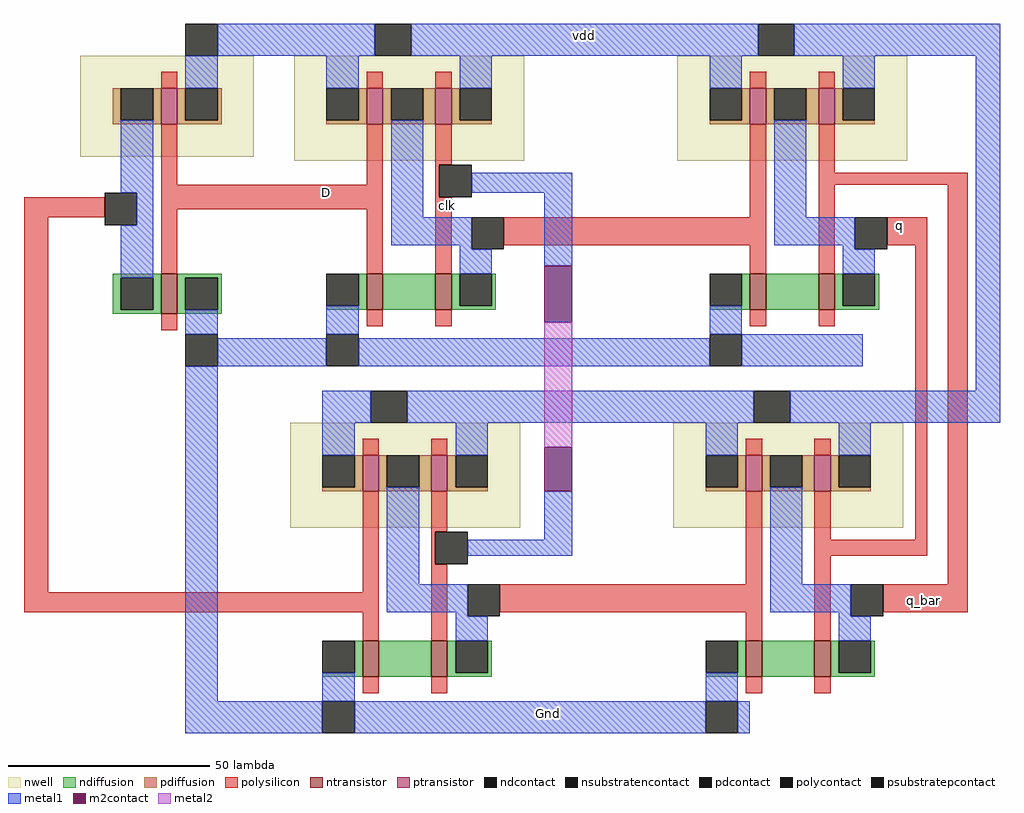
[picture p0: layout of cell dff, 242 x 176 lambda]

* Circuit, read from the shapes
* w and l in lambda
.subckt dff D Gnd clk q q_bar vdd
M1 Gnd D n1 Gnd nfet w=10 l=4
M2 n2 n1 Gnd Gnd nfet w=9 l=4
M3 n3 D Gnd Gnd nfet w=9 l=4
M4 n4 clk n2 Gnd nfet w=9 l=4
M5 n5 clk n3 Gnd nfet w=9 l=4
M6 n6 n4 Gnd Gnd nfet w=9 l=4
M7 n7 n5 Gnd Gnd nfet w=9 l=4
M8 q_bar q n6 Gnd nfet w=9 l=4
M9 q q_bar n7 Gnd nfet w=9 l=4
M10 vdd D n1 n8 pfet w=9 l=4
M11 n4 n1 vdd n9 pfet w=9 l=4
M12 n5 D vdd n10 pfet w=9 l=4
M13 vdd clk n4 n9 pfet w=9 l=4
M14 vdd clk n5 n10 pfet w=9 l=4
M15 q_bar n4 vdd n11 pfet w=9 l=4
M16 q n5 vdd n12 pfet w=9 l=4
M17 vdd q q_bar n11 pfet w=9 l=4
M18 vdd q_bar q n12 pfet w=9 l=4
.ends

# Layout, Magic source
magic
tech tsmc
<< nwell >>
rect -15 0 28 25
rect 38 -1 95 25
rect 133 -1 190 25
rect 37 -92 94 -66
rect 132 -92 189 -66
<< ntransistor >>
rect 5 -39 9 -29
rect 56 -38 60 -29
rect 73 -38 77 -29
rect 151 -38 155 -29
rect 168 -38 172 -29
rect 55 -129 59 -120
rect 72 -129 76 -120
rect 150 -129 154 -120
rect 167 -129 171 -120
<< ptransistor >>
rect 5 8 9 17
rect 56 8 60 17
rect 73 8 77 17
rect 151 8 155 17
rect 168 8 172 17
rect 55 -83 59 -74
rect 72 -83 76 -74
rect 150 -83 154 -74
rect 167 -83 171 -74
<< ndiffusion >>
rect -7 -30 5 -29
rect -7 -38 -5 -30
rect 3 -38 5 -30
rect -7 -39 5 -38
rect 9 -30 20 -29
rect 9 -38 11 -30
rect 19 -38 20 -30
rect 54 -37 56 -29
rect 46 -38 56 -37
rect 60 -38 73 -29
rect 77 -37 79 -29
rect 87 -37 88 -29
rect 77 -38 88 -37
rect 149 -37 151 -29
rect 141 -38 151 -37
rect 155 -38 168 -29
rect 172 -37 174 -29
rect 182 -37 183 -29
rect 172 -38 183 -37
rect 9 -39 20 -38
rect 53 -128 55 -120
rect 45 -129 55 -128
rect 59 -129 72 -120
rect 76 -128 78 -120
rect 86 -128 87 -120
rect 76 -129 87 -128
rect 148 -128 150 -120
rect 140 -129 150 -128
rect 154 -129 167 -120
rect 171 -128 173 -120
rect 181 -128 182 -120
rect 171 -129 182 -128
<< pdiffusion >>
rect -7 9 -5 17
rect 3 9 5 17
rect -7 8 5 9
rect 9 9 11 17
rect 19 9 20 17
rect 9 8 20 9
rect 54 9 56 17
rect 46 8 56 9
rect 60 9 62 17
rect 70 9 73 17
rect 60 8 73 9
rect 77 9 79 17
rect 77 8 87 9
rect 149 9 151 17
rect 141 8 151 9
rect 155 9 157 17
rect 165 9 168 17
rect 155 8 168 9
rect 172 9 174 17
rect 172 8 182 9
rect 53 -82 55 -74
rect 45 -83 55 -82
rect 59 -82 61 -74
rect 69 -82 72 -74
rect 59 -83 72 -82
rect 76 -82 78 -74
rect 76 -83 86 -82
rect 148 -82 150 -74
rect 140 -83 150 -82
rect 154 -82 156 -74
rect 164 -82 167 -74
rect 154 -83 167 -82
rect 171 -82 173 -74
rect 171 -83 181 -82
<< ndcontact >>
rect -5 -38 3 -30
rect 11 -38 19 -30
rect 46 -37 54 -29
rect 79 -37 87 -29
rect 141 -37 149 -29
rect 174 -37 182 -29
rect 45 -128 53 -120
rect 78 -128 86 -120
rect 140 -128 148 -120
rect 173 -128 181 -120
<< pdcontact >>
rect -5 9 3 17
rect 11 9 19 17
rect 46 9 54 17
rect 62 9 70 17
rect 79 9 87 17
rect 141 9 149 17
rect 157 9 165 17
rect 174 9 182 17
rect 45 -82 53 -74
rect 61 -82 69 -74
rect 78 -82 86 -74
rect 140 -82 148 -74
rect 156 -82 164 -74
rect 173 -82 181 -74
<< psubstratepcontact >>
rect 11 -52 19 -44
rect 46 -52 54 -44
rect 141 -52 149 -44
rect 45 -143 53 -135
rect 140 -143 148 -135
<< nsubstratencontact >>
rect 11 25 19 33
rect 58 25 67 33
rect 153 25 162 33
rect 57 -66 66 -58
rect 152 -66 161 -58
<< polysilicon >>
rect 5 17 9 21
rect 56 17 60 21
rect 73 17 77 21
rect 151 17 155 21
rect 168 17 172 21
rect 5 -7 9 8
rect 56 -7 60 8
rect -29 -15 -9 -10
rect -29 -108 -23 -15
rect 5 -13 60 -7
rect 5 -29 9 -13
rect 56 -29 60 -13
rect 73 -2 77 8
rect 73 -10 74 -2
rect 73 -29 77 -10
rect 151 -15 155 8
rect 90 -22 155 -15
rect 151 -29 155 -22
rect 168 -4 172 8
rect 168 -7 205 -4
rect 168 -29 172 -7
rect 185 -22 195 -15
rect 5 -43 9 -39
rect 56 -42 60 -38
rect 73 -42 77 -38
rect 151 -42 155 -38
rect 168 -42 172 -38
rect 55 -74 59 -70
rect 72 -74 76 -70
rect 150 -74 154 -70
rect 167 -74 171 -70
rect 55 -108 59 -83
rect -29 -113 59 -108
rect 55 -120 59 -113
rect 72 -93 76 -83
rect 72 -101 73 -93
rect 72 -120 76 -101
rect 150 -106 154 -83
rect 89 -113 154 -106
rect 150 -120 154 -113
rect 167 -95 171 -83
rect 192 -95 195 -22
rect 167 -99 195 -95
rect 167 -120 171 -99
rect 200 -106 205 -7
rect 184 -113 205 -106
rect 55 -133 59 -129
rect 72 -133 76 -129
rect 150 -133 154 -129
rect 167 -133 171 -129
<< polycontact >>
rect -9 -17 -1 -9
rect 74 -10 82 -2
rect 82 -23 90 -15
rect 177 -23 185 -15
rect 73 -101 81 -93
rect 81 -114 89 -106
rect 176 -114 184 -106
<< metal1 >>
rect 19 25 58 33
rect 67 25 153 33
rect 162 25 213 33
rect 11 17 19 25
rect 46 17 54 25
rect 79 17 87 25
rect 141 17 149 25
rect 174 17 182 25
rect -5 -9 3 9
rect -1 -17 3 -9
rect -5 -30 3 -17
rect 62 -15 70 9
rect 82 -9 107 -4
rect 62 -22 82 -15
rect 79 -23 82 -22
rect 79 -29 87 -23
rect 11 -44 19 -38
rect 100 -27 107 -9
rect 157 -15 165 9
rect 157 -22 177 -15
rect 46 -44 54 -37
rect 174 -23 177 -22
rect 174 -29 182 -23
rect 19 -52 46 -45
rect 141 -44 149 -37
rect 54 -52 141 -45
rect 149 -52 179 -44
rect 11 -135 19 -52
rect 207 -58 213 25
rect 45 -66 57 -58
rect 66 -66 152 -58
rect 161 -66 213 -58
rect 45 -74 53 -66
rect 78 -74 86 -66
rect 61 -106 69 -82
rect 140 -74 148 -66
rect 173 -74 181 -66
rect 100 -95 107 -83
rect 81 -99 107 -95
rect 156 -106 164 -82
rect 61 -113 81 -106
rect 78 -114 81 -113
rect 156 -113 176 -106
rect 173 -114 176 -113
rect 78 -120 86 -114
rect 173 -120 181 -114
rect 45 -135 53 -128
rect 140 -135 148 -128
rect 11 -143 45 -135
rect 53 -143 140 -135
rect 148 -143 151 -135
<< m2contact >>
rect 100 -41 107 -27
rect 100 -83 107 -72
<< metal2 >>
rect 100 -72 107 -41
<< labels >>
rlabel polysilicon 76 -12 76 -12 1 clk
rlabel metal1 110 30 110 30 5 vdd
rlabel polysilicon 46 -9 46 -9 1 D
rlabel polysilicon 188 -17 188 -17 1 q
rlabel metal1 101 -138 101 -138 1 Gnd
rlabel polysilicon 194 -110 194 -110 1 q_bar
<< end >>
